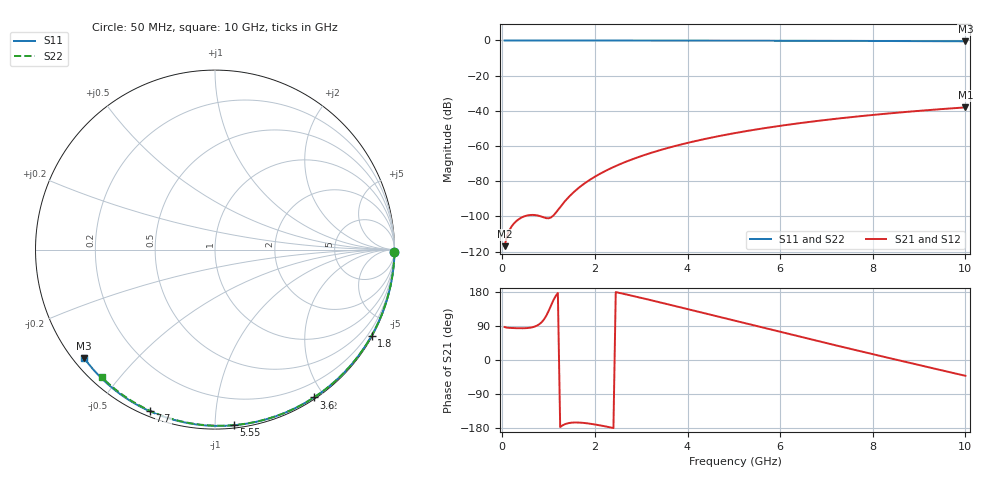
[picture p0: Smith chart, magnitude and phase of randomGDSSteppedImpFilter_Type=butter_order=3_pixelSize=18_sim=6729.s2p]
! freq	dB(S11)	phase(S11)	dB(S12)	phase(S12)
!  dB(S21)	phase(S21)	dB(S22)	phase(S22)
!S-par simulation data
#  GHz  S  DB  R 50
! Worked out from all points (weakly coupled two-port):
!   200 points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, 50 MHz to 10 GHz, reference 50 ohm
!   highest |S21| = -38.05 dB at 10 GHz (marker M1); lowest = -116.9 dB at 50 MHz (marker M2)
!   lowest |S11| = -0.5 dB at 10 GHz (marker M3), VSWR 36.69, Z = 1.54 - j18 ohm
!   |S11| at or under -10 dB: nowhere
!   |S22| runs from -0.4 to 0.0 dB; largest |S21 - S12| = 0
!   S11 on the Smith chart (normalised r, x): 50 MHz: open; 1.8 GHz: 0.03, -3.90; 3.6 GHz: 0.02, -1.87; 5.55 GHz: 0.02, -1.11; 7.7 GHz: 0.02, -0.68; 10 GHz: 0.03, -0.36
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0.05  -0.00 -0.8  -116.95 87.0  -116.95 87.0  -0.00 -0.8
0.45  -0.01 -7.3  -100.25 83.8  -100.25 83.8  -0.01 -6.8
0.9  -0.02 -14.5  -100.65 107.0  -100.65 107.0  -0.02 -13.6
1.75  -0.04 -28.0  -81.77 -165.9  -81.77 -165.9  -0.03 -26.2
1.8  -0.04 -28.8  -80.82 -166.6  -80.82 -166.6  -0.03 -27.0
1.85  -0.04 -29.6  -79.92 -167.3  -79.92 -167.3  -0.04 -27.7
2  -0.04 -31.9  -77.44 -170.1  -77.44 -170.1  -0.04 -29.9
2.15  -0.04 -34.3  -75.22 -173.4  -75.22 -173.4  -0.04 -32.1
2.35  -0.05 -37.3  -72.58 -178.2  -72.58 -178.2  -0.04 -35.0
2.55  -0.05 -40.4  -70.24 176.5  -70.24 176.5  -0.05 -37.9
2.95  -0.06 -46.5  -66.20 165.4  -66.20 165.4  -0.06 -43.6
3.4  -0.07 -53.3  -62.41 152.2  -62.41 152.2  -0.07 -50.0
3.6  -0.08 -56.2  -60.92 146.3  -60.92 146.3  -0.07 -52.7
4.3  -0.09 -66.4  -56.43 125.3  -56.43 125.3  -0.09 -62.3
5.05  -0.12 -77.0  -52.53 102.7  -52.53 102.7  -0.11 -72.3
5.55  -0.14 -83.8  -50.31 87.7  -50.31 87.7  -0.13 -78.8
6.1  -0.16 -91.2  -48.16 71.2  -48.16 71.2  -0.15 -85.8
6.7  -0.19 -99.1  -46.08 53.4  -46.08 53.4  -0.18 -93.2
7.7  -0.26 -111.9  -43.13 24.1  -43.13 24.1  -0.24 -105.2
8.35  -0.31 -120.0  -41.48 5.3  -41.48 5.3  -0.29 -112.8
9.2  -0.39 -130.5  -39.59 -19.0  -39.59 -19.0  -0.36 -122.6
10  -0.47 -140.3  -38.05 -41.7  -38.05 -41.7  -0.45 -131.6
